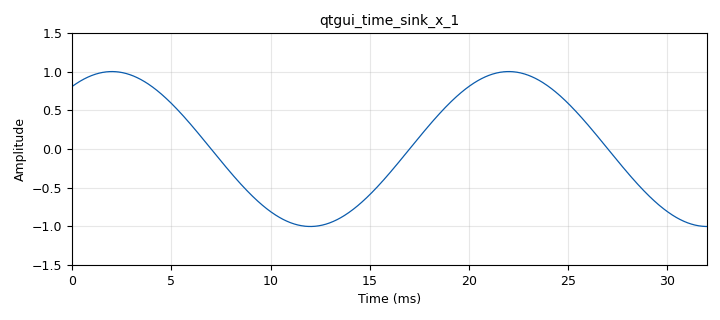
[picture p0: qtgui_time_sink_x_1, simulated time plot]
options:
  parameters:
    author: justin
    generate_options: qt_gui
    id: probing_sample_withDebug
    output_language: python
    title: Not titled yet
  states: {}

blocks:
- name: amp_probe_function
  id: variable_function_probe
  parameters:
    block_id: signProbe
    comment: |-
      See this video for basic probeing tutorial:
      https://www.youtube.com/watch?v=LiAcNm9Rru8
    function_name: level
    poll_rate: '10'
    value: '0'
  states: {}
- name: indirect_probeVar
  id: variable
  parameters:
    value: amp_probe_function
  states: {}
- name: samp_rate
  id: variable
  parameters:
    value: '32000'
  states: {}
- name: variable_qtgui_labe
  id: variable_qtgui_label
  parameters:
    gui_hint: '[5,0]'
    label: indiectAmplitude
    type: real
    value: indirect_probeVar
  states: {}
- name: variable_qtgui_label_0
  id: variable_qtgui_label
  parameters:
    gui_hint: '[3,0]'
    label: Amplitude
    type: real
    value: amp_probe_function
  states: {}
- name: analog_random_source_x_0
  id: analog_random_source_x
  parameters:
    max: '256'
    min: '0'
    num_samps: '1000'
    repeat: 'True'
    type: int
  states: {state: disabled}
- name: analog_sig_source_x_0
  id: analog_sig_source_x
  parameters:
    amp: '1'
    freq: '50'
    offset: '0'
    phase: '0'
    samp_rate: samp_rate
    type: float
    waveform: analog.GR_COS_WAVE
  states: {}
- name: blocks_file_sink_0
  id: blocks_file_sink
  parameters:
    append: 'True'
    file: /Users/justin/Desktop/test.txt
    type: float
  states: {state: disabled}
- name: blocks_float_to_char_0
  id: blocks_float_to_char
  parameters:
    scale: '1'
  states: {state: disabled}
- name: blocks_message_debug_0
  id: blocks_message_debug
  parameters:
    alias: mesageBlock
  states: {state: disabled}
- name: blocks_throttle_0
  id: blocks_throttle
  parameters:
    samples_per_second: samp_rate/4
    type: float
  states: {}
- name: qtgui_edit_box_msg_0
  id: qtgui_edit_box_msg
  parameters:
    label: Test
    type: float
  states: {state: disabled}
- name: qtgui_number_sink_0_1_0_0_0
  id: qtgui_number_sink
  parameters:
    graph_type: qtgui.NUM_GRAPH_HORIZ
    gui_hint: '[1,0]'
    max: '300'
    min: '0'
    name: input
    type: float
  states: {}
- name: qtgui_time_sink_x_1
  id: qtgui_time_sink_x
  parameters:
    grid: 'True'
    gui_hint: '[0,0]'
    size: (int)(1024/1)
    srate: samp_rate
    type: float
    ymax: '1.5'
    ymin: '-1.5'
  states: {}
- name: signProbe
  id: blocks_probe_signal_x
  parameters:
    type: float
  states: {}
- name: virtual_sink_0
  id: virtual_sink
  parameters:
    stream_id: AmpTest
  states: {}
- name: virtual_source_0
  id: virtual_source
  parameters:
    stream_id: AmpTest
  states: {state: disabled}

connections:
- [analog_random_source_x_0, '0', blocks_throttle_0, '0']
- [analog_sig_source_x_0, '0', blocks_file_sink_0, '0']
- [analog_sig_source_x_0, '0', blocks_throttle_0, '0']
- [blocks_float_to_char_0, '0', blocks_message_debug_0, print]
- [blocks_throttle_0, '0', qtgui_number_sink_0_1_0_0_0, '0']
- [blocks_throttle_0, '0', qtgui_time_sink_x_1, '0']
- [blocks_throttle_0, '0', signProbe, '0']
- [blocks_throttle_0, '0', virtual_sink_0, '0']
- [qtgui_edit_box_msg_0, msg, blocks_message_debug_0, print]
- [virtual_source_0, '0', blocks_float_to_char_0, '0']
- [virtual_source_0, '0', qtgui_edit_box_msg_0, val]

metadata:
  file_format: 1
